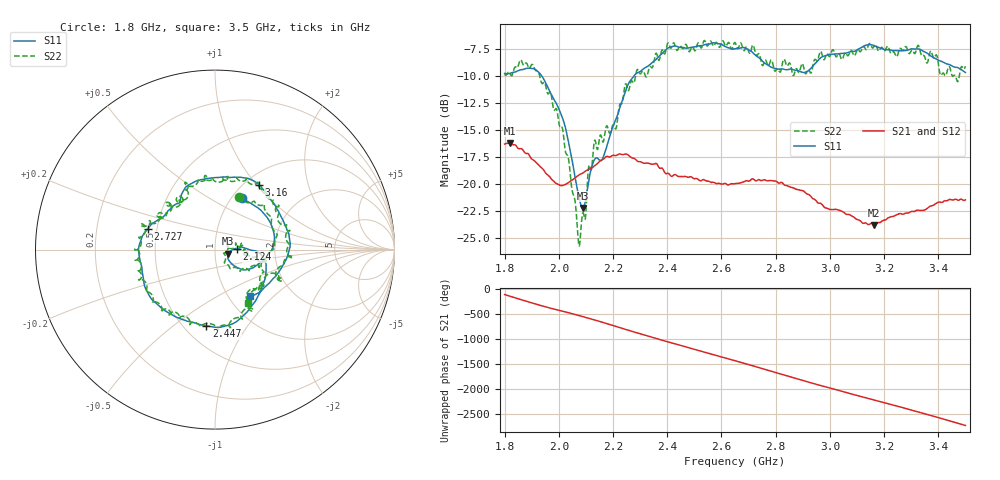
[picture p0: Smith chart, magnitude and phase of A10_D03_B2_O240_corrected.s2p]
! Created with skrf 1.9.0 (http://scikit-rf.org).
# Hz S RI R 50.0
!freq ReS11 ImS11 ReS21 ImS21 ReS12 ImS12 ReS22 ImS22
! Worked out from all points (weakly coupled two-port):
!   1601 points, 1.8 GHz to 3.5 GHz, reference 50 ohm
!   highest |S21| = -16.21 dB at 1.818 GHz (marker M1); lowest = -23.8 dB at 3.163 GHz (marker M2)
!   lowest |S11| = -22.2 dB at 2.09 GHz (marker M3), VSWR 1.17, Z = 57.9 - j2.68 ohm
!   |S11| at or under -10 dB: 1.936 GHz to 2.278 GHz (341.1 MHz wide, 16.2 % of centre)
!   |S22| runs from -25.7 to -6.8 dB; largest |S21 - S12| = 0.0026
!   S11 on the Smith chart (normalised r, x): 1.8 GHz: 1.12, +0.71; 2.124 GHz: 1.28, +0.01; 2.447 GHz: 0.64, -0.66; 2.727 GHz: 0.44, +0.12; 3.16 GHz: 1.16, +1.03; 3.5 GHz: 1.25, -0.73
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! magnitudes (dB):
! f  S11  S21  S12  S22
! 1.8 GHz  -9.8  -16.3  -16.3  -9.9
! 1.818 GHz  -9.8  -16.2  -16.2  -9.7
! 1.903 GHz  -9.3  -17.7  -17.7  -9.0
! 1.968 GHz  -11.5  -19.4  -19.4  -11.5
! 2.015 GHz  -14.0  -20.1  -20.2  -15.0
! 2.072 GHz  -20.9  -19.2  -19.2  -25.3
! 2.084 GHz  -22.1  -19.1  -19.0  -23.5
! 2.09 GHz  -22.2  -19.0  -19.0  -22.7
! 2.124 GHz  -18.2  -18.5  -18.5  -17.9
! 2.164 GHz  -17.5  -17.7  -17.7  -16.1
! 2.261 GHz  -10.6  -17.4  -17.4  -11.1
! 2.367 GHz  -8.3  -18.4  -18.3  -8.5
! 2.447 GHz  -7.4  -19.3  -19.3  -7.2
! 2.65 GHz  -7.5  -20.0  -19.9  -6.9
! 2.727 GHz  -8.1  -19.7  -19.7  -8.0
! 2.934 GHz  -9.2  -21.3  -21.2  -9.6
! 3.16 GHz  -7.2  -23.7  -23.7  -7.4
! 3.163 GHz  -7.2  -23.8  -23.7  -7.3
! 3.217 GHz  -7.6  -23.1  -23.1  -7.4
! 3.327 GHz  -7.5  -22.4  -22.4  -7.2
! 3.468 GHz  -9.2  -21.4  -21.4  -10.4
! 3.5 GHz  -9.7  -21.5  -21.4  -9.1
